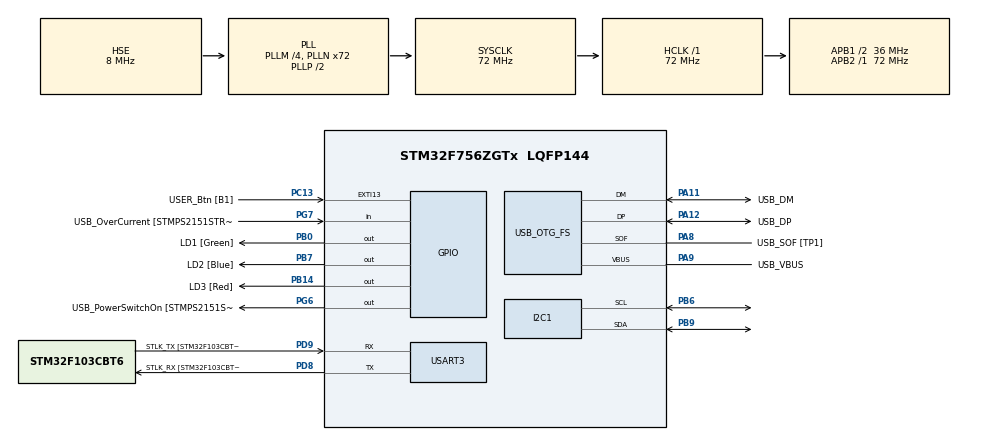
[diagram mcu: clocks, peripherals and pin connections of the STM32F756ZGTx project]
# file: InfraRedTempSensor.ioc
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I2C1.Timing=0x00808CD2
Mcu.Family=STM32F7
Mcu.Name=STM32F756ZGTx
Mcu.Package=LQFP144
NVIC.PriorityGroup=NVIC_PRIORITYGROUP_4
PA1.GPIO_Label=RMII_REF_CLK [LAN8742A-CZ-TR_REFCLK0]
PA1.Signal=ETH_REF_CLK
PA10.GPIO_Label=USB_ID
PA10.Signal=USB_OTG_FS_ID
PA11.GPIO_Label=USB_DM
PA11.Mode=Device_Only
PA11.Signal=USB_OTG_FS_DM
PA12.GPIO_Label=USB_DP
PA12.Mode=Device_Only
PA12.Signal=USB_OTG_FS_DP
PA13.GPIO_Label=TMS
PA13.Mode=Serial_Wire
PA13.Signal=SYS_JTMS-SWDIO
PA14.GPIO_Label=TCK
PA14.Mode=Serial_Wire
PA14.Signal=SYS_JTCK-SWCLK
PA2.GPIO_Label=RMII_MDIO [LAN8742A-CZ-TR_MDIO]
PA2.Signal=ETH_MDIO
PA7.GPIO_Label=RMII_CRS_DV [LAN8742A-CZ-TR_CRS_DV]
PA7.Signal=ETH_CRS_DV
PA8.GPIO_Label=USB_SOF [TP1]
PA8.Mode=Activate_SOF_FS
PA8.Signal=USB_OTG_FS_SOF
PA9.GPIO_Label=USB_VBUS
PA9.Mode=Activate_VBUS
PA9.Signal=USB_OTG_FS_VBUS
PB0.GPIO_Label=LD1 [Green]
PB0.Signal=GPIO_Output
PB13.GPIO_Label=RMII_TXD1 [LAN8742A-CZ-TR_TXD1]
PB13.Signal=ETH_TXD1
PB14.GPIO_Label=LD3 [Red]
PB14.Signal=GPIO_Output
PB3.GPIO_Label=SW0
PB3.Signal=SYS_JTDO-SWO
PB6.Mode=I2C
PB6.Signal=I2C1_SCL
PB7.GPIO_Label=LD2 [Blue]
PB7.Signal=GPIO_Output
PB9.Mode=I2C
PB9.Signal=I2C1_SDA
PC1.GPIO_Label=RMII_MDC [LAN8742A-CZ-TR_MDC]
PC1.Signal=ETH_MDC
PC13.GPIO_Label=USER_Btn [B1]
PC13.Signal=GPXTI13
PC14/OSC32_IN.Mode=LSE-External-Oscillator
PC14/OSC32_IN.Signal=RCC_OSC32_IN
PC15/OSC32_OUT.Mode=LSE-External-Oscillator
PC15/OSC32_OUT.Signal=RCC_OSC32_OUT
PC4.GPIO_Label=RMII_RXD0 [LAN8742A-CZ-TR_RXD0]
PC4.Signal=ETH_RXD0
PC5.GPIO_Label=RMII_RXD1 [LAN8742A-CZ-TR_RXD1]
PC5.Signal=ETH_RXD1
PD8.GPIO_Label=STLK_RX [STM32F103CBT6_PA3]
PD8.Mode=Asynchronous
PD8.Signal=USART3_TX
PD9.GPIO_Label=STLK_TX [STM32F103CBT6_PA2]
PD9.Mode=Asynchronous
PD9.Signal=USART3_RX
PG11.GPIO_Label=RMII_TX_EN [LAN8742A-CZ-TR_TXEN]
PG11.Signal=ETH_TX_EN
PG13.GPIO_Label=RMII_TXD0 [LAN8742A-CZ-TR_TXD0]
PG13.Signal=ETH_TXD0
PG6.GPIO_Label=USB_PowerSwitchOn [STMPS2151STR_EN]
PG6.Signal=GPIO_Output
PG7.GPIO_Label=USB_OverCurrent [STMPS2151STR_FAULT]
PG7.Signal=GPIO_Input
PH0/OSC_IN.GPIO_Label=MCO [STM32F103CBT6_PA8]
PH0/OSC_IN.Mode=HSE-External-Clock-Source
PH0/OSC_IN.Signal=RCC_OSC_IN
PH1/OSC_OUT.Mode=HSE-External-Clock-Source
PH1/OSC_OUT.Signal=RCC_OSC_OUT
ProjectManager.HeapSize=0x200
ProjectManager.StackSize=0x400
ProjectManager.TargetToolchain=STM32CubeIDE
RCC.48MHZClocksFreq_Value=24000000
RCC.AHBFreq_Value=72000000
RCC.APB1CLKDivider=RCC_HCLK_DIV2
RCC.APB1Freq_Value=36000000
RCC.APB1TimFreq_Value=72000000
RCC.APB2Freq_Value=72000000
RCC.APB2TimFreq_Value=72000000
RCC.CortexFreq_Value=72000000
RCC.HCLKFreq_Value=72000000
RCC.HSE_VALUE=8000000
RCC.HSI_VALUE=16000000
RCC.PLLM=4
RCC.PLLMUL=RCC_PLL_MUL9
RCC.PLLN=72
RCC.PLLQ=3
RCC.PRESCALERUSB=RCC_USBCLKSOURCE_PLL_DIV1_5
RCC.SYSCLKFreq_VALUE=72000000
RCC.SYSCLKSource=RCC_SYSCLKSOURCE_PLLCLK
RCC.SYSCLKSourceVirtual=RCC_SYSCLKSOURCE_PLLCLK
RCC.USBFreq_Value=48000000
RCC.VCOOutputFreq_Value=144000000
USART3.VirtualMode-Asynchronous=VM_ASYNC
USB_OTG_FS.VirtualMode=Device_Only
board=NUCLEO-F756ZG

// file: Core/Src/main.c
/* USER CODE BEGIN Header */
/**
  ******************************************************************************
  * @file           : main.c
  * @brief          : Main program body
  ******************************************************************************
  * @attention
  *
  * Copyright (c) 2022 STMicroelectronics.
  * All rights reserved.
  *
  * This software is licensed under terms that can be found in the LICENSE file
  * in the root directory of this software component.
  * If no LICENSE file comes with this software, it is provided AS-IS.
  *
  ******************************************************************************
  */
/* USER CODE END Header */
#include "main.h"
#include "i2c.h"
#include "usart.h"
#include "usb_otg.h"
#include "gpio.h"
/* USER CODE BEGIN Includes */
#include "stdio.h"
#include "math.h"
/* USER CODE END Includes */

/* USER CODE BEGIN PD */
#define EMISIVITY 0.985
/* USER CODE END PD */

/* USER CODE BEGIN PV */
uint16_t ambient_tmp;
uint16_t obj_tmp;
float ambient_tmp_cel;
float obj_tmp_cel;
uint8_t tmp[2];
char buf[80];
uint8_t len;
/* USER CODE END PV */

void SystemClock_Config(void);
/* USER CODE BEGIN PFP */
uint8_t crc8(uint8_t InCrc, uint8_t InData);
/* USER CODE END PFP */

int main(void)
{

  /* MCU Configuration--------------------------------------------------------*/

  /* Reset of all peripherals, Initializes the Flash interface and the Systick. */
  HAL_Init();

  /* Configure the system clock */
  SystemClock_Config();

  /* Initialize all configured peripherals */
  MX_GPIO_Init();
  MX_USART3_UART_Init();
  MX_USB_OTG_FS_PCD_Init();
  MX_I2C1_Init();
  /* USER CODE BEGIN 2 */
  if(EMISIVITY>0.1 && EMISIVITY<1)//Setting emisivity
  {
	    uint16_t new_emissivity = (uint16_t)round(65535.0 * EMISIVITY);
	    uint8_t Crc;
	  	uint8_t tmp_emis[3];
	  	uint8_t Address =0x24;

	  	Crc = crc8(0, (0x5A)<<1);
	  	Crc = crc8(Crc, Address);
	  	Crc = crc8(Crc, 0);
	  	Crc = crc8(Crc, 0);

	  	tmp_emis[0] = new_emissivity & 0xFF;
	  	tmp_emis[1] = new_emissivity>>8;
	  	tmp_emis[2] = Crc;
  	HAL_I2C_Mem_Write(&hi2c1, (0x5A)<<1, Address, 1, tmp_emis, 3, 10);
  	HAL_Delay(10);

	  	Crc = crc8(0, (0x5A)<<1);
	  	Crc = crc8(Crc, Address);
	  	Crc = crc8(Crc, new_emissivity & 0xFF);
	  	Crc = crc8(Crc, new_emissivity>>8);

	  	tmp_emis[0] = new_emissivity & 0xFF;
	  	tmp_emis[1] = new_emissivity>>8;
	  	tmp_emis[2] = Crc;
  	HAL_I2C_Mem_Write(&hi2c1, (0x5A)<<1, Address, 1, tmp_emis, 3, 10);
  	HAL_Delay(10); // Writing time ~5ms;
  }
  /* USER CODE END 2 */

  /* Infinite loop */
  while (1)
  {
	  if(HAL_I2C_Mem_Read(&hi2c1,(0x5A)<<1,0x06,1,tmp,2,10)==HAL_OK)
		{
		ambient_tmp = (uint16_t)tmp[1]<<8 | tmp[0];
		ambient_tmp_cel = (float)ambient_tmp * 0.02;
		ambient_tmp_cel = ambient_tmp_cel - 273.15;
		}
	  if(HAL_I2C_Mem_Read(&hi2c1,(0x5A)<<1,0x07,1,tmp,2,10)==HAL_OK)
		{
		  obj_tmp = (uint16_t)tmp[1]<<8 | tmp[0];
		  obj_tmp_cel = (float)obj_tmp * 0.02;
		  obj_tmp_cel = obj_tmp_cel - 273.15;
		}
	  len = sprintf(buf, "Ambient: %.2f\n,Object:%.2f \n\r", ambient_tmp_cel,obj_tmp_cel);
	  HAL_UART_Transmit(&huart3, (uint8_t*)buf, len, 10);
	  HAL_Delay(500);
  }
}

void SystemClock_Config(void)
{
  RCC_OscInitTypeDef RCC_OscInitStruct = {0};
  RCC_ClkInitTypeDef RCC_ClkInitStruct = {0};

  /** Configure LSE Drive Capability
  */
  HAL_PWR_EnableBkUpAccess();

  /** Configure the main internal regulator output voltage
  */
  __HAL_RCC_PWR_CLK_ENABLE();
  __HAL_PWR_VOLTAGESCALING_CONFIG(PWR_REGULATOR_VOLTAGE_SCALE3);

  /** Initializes the RCC Oscillators according to the specified parameters
  * in the RCC_OscInitTypeDef structure.
  */
  RCC_OscInitStruct.OscillatorType = RCC_OSCILLATORTYPE_HSE;
  RCC_OscInitStruct.HSEState = RCC_HSE_BYPASS;
  RCC_OscInitStruct.PLL.PLLState = RCC_PLL_ON;
  RCC_OscInitStruct.PLL.PLLSource = RCC_PLLSOURCE_HSE;
  RCC_OscInitStruct.PLL.PLLM = 4;
  RCC_OscInitStruct.PLL.PLLN = 72;
  RCC_OscInitStruct.PLL.PLLP = RCC_PLLP_DIV2;
  RCC_OscInitStruct.PLL.PLLQ = 3;
  if (HAL_RCC_OscConfig(&RCC_OscInitStruct) != HAL_OK)
  {
    Error_Handler();
  }

  /** Initializes the CPU, AHB and APB buses clocks
  */
  RCC_ClkInitStruct.ClockType = RCC_CLOCKTYPE_HCLK|RCC_CLOCKTYPE_SYSCLK
                              |RCC_CLOCKTYPE_PCLK1|RCC_CLOCKTYPE_PCLK2;
  RCC_ClkInitStruct.SYSCLKSource = RCC_SYSCLKSOURCE_PLLCLK;
  RCC_ClkInitStruct.AHBCLKDivider = RCC_SYSCLK_DIV1;
  RCC_ClkInitStruct.APB1CLKDivider = RCC_HCLK_DIV2;
  RCC_ClkInitStruct.APB2CLKDivider = RCC_HCLK_DIV1;

  if (HAL_RCC_ClockConfig(&RCC_ClkInitStruct, FLASH_LATENCY_2) != HAL_OK)
  {
    Error_Handler();
  }
}

/* USER CODE BEGIN 4 */
uint8_t crc8(uint8_t InCrc, uint8_t InData)
{
	uint8_t i;
	uint8_t Data;
	Data = InCrc ^= InData;
	for ( i = 0; i < 8; i++ )
	{
		if (( Data & 0x80 ) != 0 )
		{
			Data <<= 1;
			Data ^= 0x07;
		}
		else
		{
			Data <<= 1;
		}
	}
	return Data;
}
/* USER CODE END 4 */

void Error_Handler(void)
{
  __disable_irq();
  while (1)
  {
  }
}
